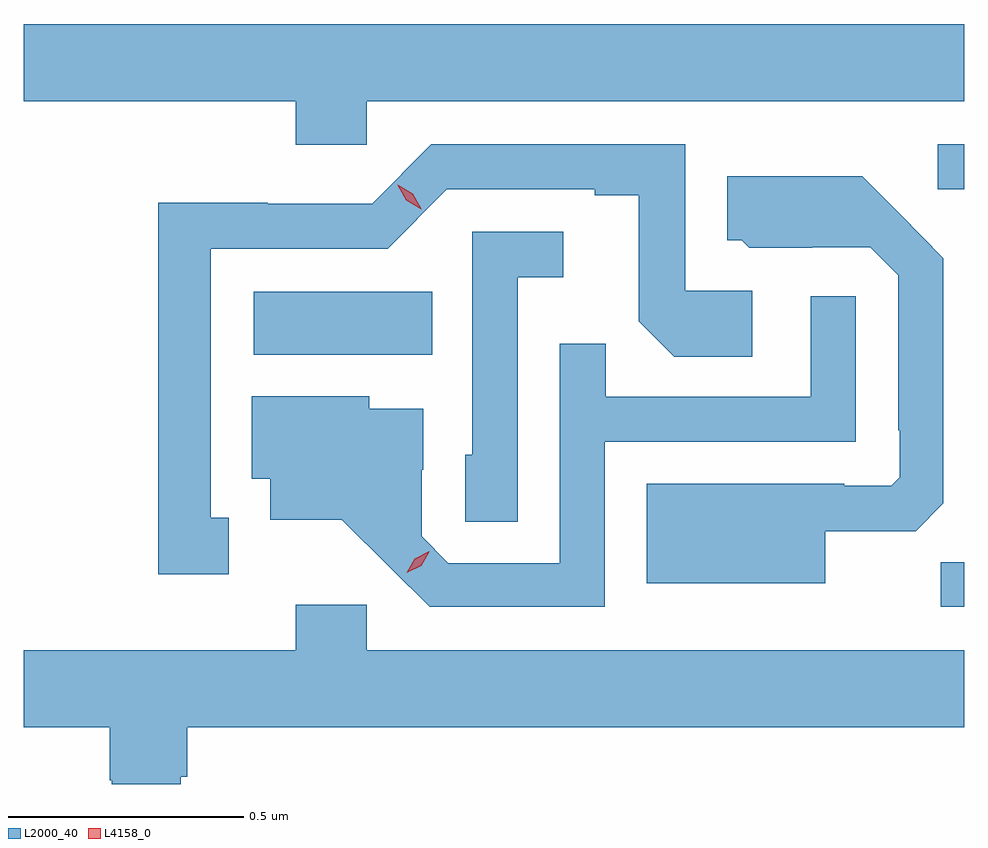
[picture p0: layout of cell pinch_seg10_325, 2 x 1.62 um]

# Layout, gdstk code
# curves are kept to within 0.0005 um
import gdstk
lib = gdstk.Library(unit=1e-6, precision=1e-09)
def R(c, l, rs):  # rectangles x0, y0, x1, y1
    for r in rs: c.add(gdstk.rectangle(r[:2], r[2:], *l))
def P(c, l, *ps):  # polygons
    for p in ps: c.add(gdstk.Polygon(p, *l))
L2000_40 = (2000, 40)
L4158_0 = (4158, 0)

pinch_seg10_325 = lib.new_cell('pinch_seg10_325')
R(pinch_seg10_325, L2000_40, [(408.124,1305.9,408.173,1305.995), (406.662,1306.436,407.042,1306.57), (408.117,1306.788,408.173,1306.884)])
P(pinch_seg10_325, L2000_40, [(406.902,1306.976),(408.173,1306.976),(408.173,1307.14),(406.173,1307.14),(406.173,1306.976),(406.751,1306.976),(406.751,1306.883),(406.902,1306.883)],
  [(406.609,1306.089),(406.57,1306.089),(406.57,1306.662),(406.947,1306.662),(407.073,1306.788),(407.387,1306.788),(407.387,1306.776),(407.481,1306.776),(407.481,1306.508),(407.557,1306.432),(407.722,1306.432),(407.722,1306.572),(407.58,1306.572),(407.58,1306.884),(407.04,1306.884),(406.914,1306.758),(406.692,1306.758),(406.692,1306.76),(406.459,1306.76),(406.459,1305.969),(406.609,1305.969)],
  [(407.878,1306.061),(408.07,1306.061),(408.129,1306.12),(408.129,1306.642),(407.957,1306.816),(407.669,1306.816),(407.669,1306.68),(407.7,1306.68),(407.716,1306.664),(407.85,1306.664),(407.85,1306.665),(407.973,1306.665),(408.033,1306.605),(408.033,1306.276),(408.036,1306.276),(408.036,1306.176),(408.018,1306.158),(407.918,1306.158),(407.918,1306.162),(407.498,1306.162),(407.498,1305.95),(407.878,1305.95)],
  [(407.223,1306.601),(407.32,1306.601),(407.32,1306.698),(407.127,1306.698),(407.127,1306.224),(407.112,1306.224),(407.112,1306.081),(407.223,1306.081)],
  [(407.409,1306.251),(407.943,1306.251),(407.943,1306.561),(407.847,1306.561),(407.847,1306.347),(407.411,1306.347),(407.411,1306.46),(407.313,1306.46),(407.313,1305.993),(407.076,1305.993),(407.019,1306.05),(407.019,1306.192),(407.023,1306.192),(407.023,1306.321),(406.908,1306.321),(406.908,1306.348),(406.658,1306.348),(406.658,1306.172),(406.697,1306.172),(406.697,1306.085),(406.849,1306.085),(407.036,1305.9),(407.409,1305.9)],
  [(406.507,1305.538),(406.52,1305.538),(406.52,1305.644),(408.173,1305.644),(408.173,1305.808),(406.902,1305.808),(406.902,1305.904),(406.751,1305.904),(406.751,1305.808),(406.173,1305.808),(406.173,1305.644),(406.355,1305.644),(406.355,1305.531),(406.36,1305.531),(406.36,1305.523),(406.507,1305.523)])
P(pinch_seg10_325, L4158_0, [(406.987,1305.972),(406.987,1305.972),(407.004,1306.002),(407.035,1306.018),(407.035,1306.018),(407.035,1306.017),(407.018,1305.987),(406.987,1305.972)],
  [(407.018,1306.746),(406.986,1306.765),(406.968,1306.797),(406.968,1306.798),(406.968,1306.798),(407,1306.779),(407.018,1306.747),(407.018,1306.746)])

lib.write_gds('pinch_seg10_325.gds')
